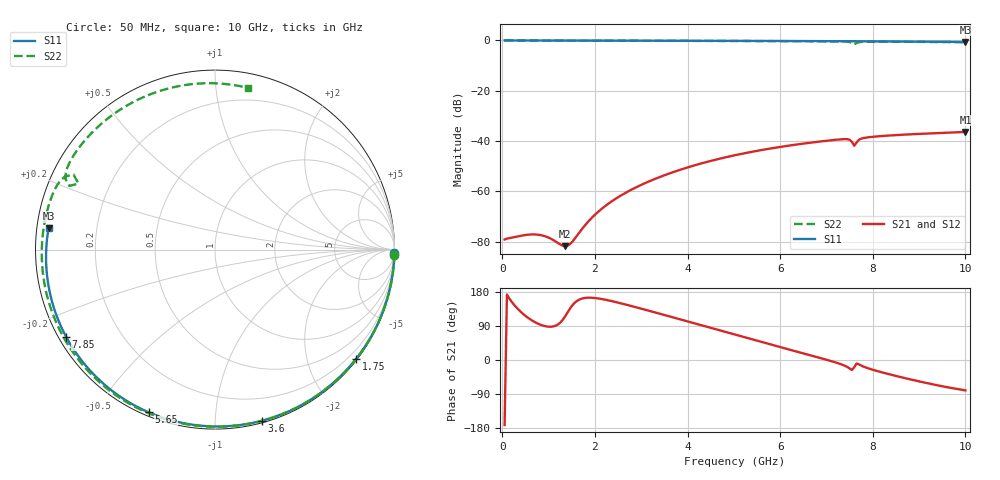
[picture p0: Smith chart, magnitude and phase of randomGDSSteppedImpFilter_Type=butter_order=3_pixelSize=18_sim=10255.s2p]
! freq	dB(S11)	phase(S11)	dB(S12)	phase(S12)
!  dB(S21)	phase(S21)	dB(S22)	phase(S22)
!S-par simulation data
#  GHz  S  DB  R 50
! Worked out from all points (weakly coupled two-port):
!   200 points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, 50 MHz to 10 GHz, reference 50 ohm
!   highest |S21| = -36.39 dB at 10 GHz (marker M1); lowest = -81.8 dB at 1.35 GHz (marker M2)
!   lowest |S11| = -0.6 dB at 10 GHz (marker M3), VSWR 29.69, Z = 1.69 + j3.19 ohm
!   |S11| at or under -10 dB: nowhere
!   |S22| runs from -1.5 to 0.0 dB; largest |S21 - S12| = 0
!   S11 on the Smith chart (normalised r, x): 50 MHz: open; 1.75 GHz: 0.03, -2.93; 3.6 GHz: 0.02, -1.31; 5.65 GHz: 0.02, -0.67; 7.85 GHz: 0.02, -0.27; 10 GHz: 0.03, +0.06
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0.05  -0.00 -1.1  -79.18 -171.5  -79.18 -171.5  -0.00 -1.6
0.7  -0.02 -15.3  -77.17 100.2  -77.17 100.2  -0.02 -22.3
1.15  -0.03 -25.0  -79.95 90.4  -79.95 90.4  -0.04 -36.3
1.35  -0.04 -29.2  -81.84 113.9  -81.84 113.9  -0.05 -42.4
1.5  -0.04 -32.4  -80.30 142.2  -80.30 142.2  -0.06 -47.0
1.75  -0.05 -37.7  -74.33 163.0  -74.33 163.0  -0.07 -54.4
2.05  -0.06 -43.9  -68.49 162.9  -68.49 162.9  -0.08 -63.2
2.4  -0.07 -51.1  -63.55 154.4  -63.55 154.4  -0.09 -73.3
3.4  -0.09 -71.0  -54.33 122.2  -54.33 122.2  -0.13 -100.6
3.6  -0.10 -74.8  -52.96 115.4  -52.96 115.4  -0.13 -105.8
4.3  -0.12 -88.0  -48.91 91.5  -48.91 91.5  -0.16 -123.6
5.05  -0.16 -101.6  -45.55 65.9  -45.55 65.9  -0.20 -142.1
5.65  -0.18 -112.2  -43.42 45.7  -43.42 45.7  -0.24 -156.6
6.7  -0.25 -130.2  -40.56 10.9  -40.56 10.9  -0.32 177.4
7.45  -0.31 -142.8  -39.29 -18.4  -39.29 -18.4  -0.50 156.1
7.55  -0.32 -144.5  -40.34 -26.3  -40.34 -26.3  -1.00 152.1
7.6  -0.32 -145.4  -41.88 -19.1  -41.88 -19.1  -1.47 154.2
7.7  -0.33 -147.0  -39.54 -11.5  -39.54 -11.5  -0.72 154.8
7.85  -0.34 -149.6  -38.66 -19.8  -38.66 -19.8  -0.50 149.3
8.35  -0.39 -158.1  -37.82 -37.4  -37.82 -37.4  -0.49 134.1
9.25  -0.49 -173.7  -36.98 -63.1  -36.98 -63.1  -0.59 105.6
10  -0.59 172.7  -36.39 -80.1  -36.39 -80.1  -0.73 78.6
